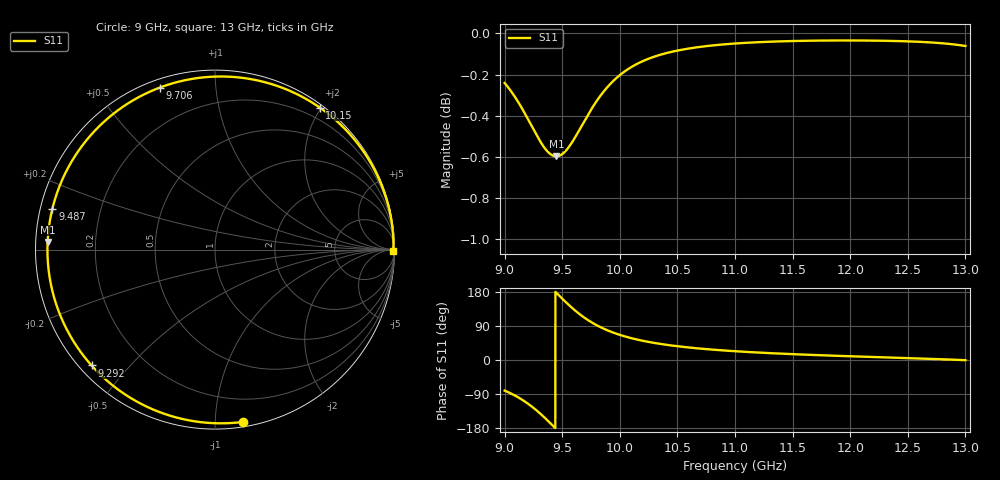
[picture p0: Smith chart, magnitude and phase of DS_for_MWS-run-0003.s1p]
! TOUCHSTONE file generated by CST DESIGN STUDIO
! Date and time: Tue Feb  4 13:27:51 2025
! Project name: C:\Work\MatlabApps\UnitCellOptimizationMatlab\CST\unitcell.cst
! Tree item: Tasks\Sweep1\SPara1\S-Parameters
! Header version: 2024
! Port assignment regex: !\s*Touchstone port\s*([0-9]+)\s*=\s*(CST MWS port|CST DES external port|CST DES block port)\s*(.+)\s* \(\"(.*)\"\)(\s*mode\s*([0-9]+))?.*
! Touchstone port assignment:
! Touchstone port 1 = CST DES external port 1 ("")
# GHz S MA R 50
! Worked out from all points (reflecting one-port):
!   4001 points, 9 GHz to 13 GHz, reference 50 ohm
!   lowest |S11| = -0.6 dB at 9.449 GHz (marker M1), VSWR 29.11, Z = 1.72 + j1.14 ohm
!   phase of S11 starts at -81 deg and turns -280 deg over the sweep
!   S11 on the Smith chart (normalised r, x): 9 GHz: 0.03, -1.18; 9.292 GHz: 0.03, -0.40; 9.487 GHz: 0.03, +0.12; 9.706 GHz: 0.04, +0.71; 10.15 GHz: 0.04, +1.98; 13 GHz: open
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9  0.9727 -80.7
9.091  0.965 -94.0
9.164  0.9575 -107.2
9.23  0.9501 -121.4
9.292  0.9432 -136.8
9.333  0.9391 -148.0
9.376  0.9359 -160.5
9.413  0.9341 -171.6
9.449  0.9336 177.4
9.487  0.9342 165.8
9.5  0.9347 161.9
9.554  0.9381 146.2
9.604  0.9427 132.6
9.654  0.948 120.3
9.706  0.9536 108.9
9.773  0.9605 96.2
9.852  0.9674 83.7
9.924  0.9726 74.5
10  0.977 66.3
10.155  0.9833 53.6
10.311  0.9874 44.5
10.5  0.9905 36.4
10.722  0.9927 29.5
11  0.9944 23.2
11.5  0.9958 15.4
12  0.9961 9.8
12.5  0.9956 5.0
13  0.993 -0.5
